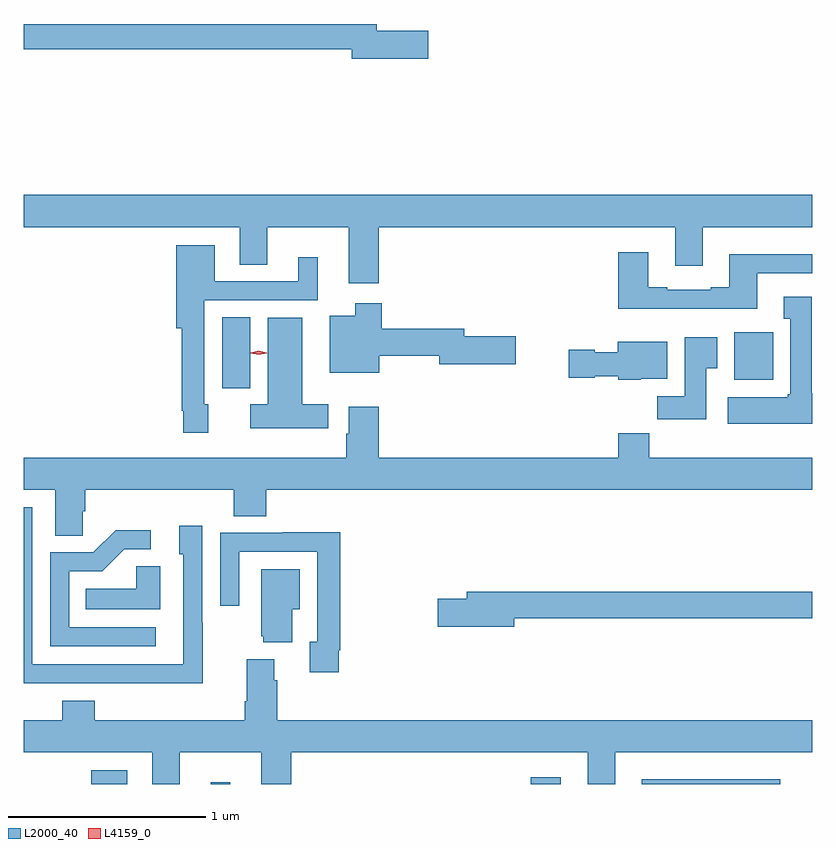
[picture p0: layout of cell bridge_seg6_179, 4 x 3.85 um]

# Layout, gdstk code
import gdstk
lib = gdstk.Library(unit=1e-6, precision=1e-09)
def R(c, l, rs):  # rectangles x0, y0, x1, y1
    for r in rs: c.add(gdstk.rectangle(r[:2], r[2:], *l))
def P(c, l, *ps):  # polygons
    for p in ps: c.add(gdstk.Polygon(p, *l))
L2000_40 = (2000, 40)
L4159_0 = (4159, 0)

bridge_seg6_179 = lib.new_cell('bridge_seg6_179')
R(bridge_seg6_179, L2000_40, [(277.466,980.476,277.648,980.545), (278.072,980.476,278.17,980.485), (279.695,980.476,279.847,980.509), (280.259,980.476,280.96,980.5), (278.129,982.483,278.272,982.844), (280.727,982.526,280.924,982.768)])
P(bridge_seg6_179, L2000_40, [(279.175,984.297),(278.914,984.297),(278.914,984.331),(277.123,984.331),(277.123,984.202),(278.786,984.202),(278.786,984.155),(279.175,984.155)],
  [(278.924,983.3),(280.427,983.3),(280.427,983.106),(280.567,983.106),(280.567,983.3),(281.123,983.3),(281.123,983.464),(277.123,983.464),(277.123,983.3),(278.219,983.3),(278.219,983.11),(278.359,983.11),(278.359,983.3),(278.771,983.3),(278.771,983.016),(278.924,983.016)],
  [(278.059,982.401),(278.04,982.401),(278.04,982.929),(278.614,982.929),(278.614,983.149),(278.516,983.149),(278.516,983.025),(278.092,983.025),(278.092,983.209),(277.898,983.209),(277.898,982.787),(277.924,982.787),(277.924,982.369),(277.932,982.369),(277.932,982.257),(278.059,982.257)],
  [(280.843,983.067),(281.123,983.067),(281.123,983.164),(280.703,983.164),(280.703,982.996),(280.607,982.996),(280.607,982.983),(280.387,982.983),(280.387,982.996),(280.291,982.996),(280.291,983.173),(280.139,983.173),(280.139,982.886),(280.843,982.886)],
  [(281.123,982.458),(281.119,982.458),(281.119,982.948),(280.979,982.948),(280.979,982.835),(281.012,982.835),(281.012,982.452),(280.999,982.452),(280.999,982.438),(280.695,982.438),(280.695,982.304),(281.123,982.304)],
  [(278.926,982.648),(279.23,982.648),(279.23,982.606),(279.619,982.606),(279.619,982.748),(279.358,982.748),(279.358,982.784),(278.939,982.784),(278.939,982.915),(278.804,982.915),(278.804,982.852),(278.675,982.852),(278.675,982.562),(278.926,982.562)],
  [(278.668,982.402),(278.536,982.402),(278.536,982.84),(278.36,982.84),(278.36,982.402),(278.272,982.402),(278.272,982.28),(278.668,982.28)],
  [(280.585,982.585),(280.642,982.585),(280.642,982.741),(280.475,982.741),(280.475,982.444),(280.336,982.444),(280.336,982.326),(280.585,982.326)],
  [(280.254,982.532),(280.387,982.532),(280.387,982.72),(280.136,982.72),(280.136,982.666),(280.02,982.666),(280.02,982.679),(279.888,982.679),(279.888,982.537),(280.02,982.537),(280.02,982.544),(280.14,982.544),(280.14,982.526),(280.254,982.526)],
  [(277.422,981.859),(277.436,981.859),(277.436,981.968),(278.189,981.968),(278.189,981.835),(278.354,981.835),(278.354,981.968),(281.123,981.968),(281.123,982.132),(280.295,982.132),(280.295,982.256),(280.139,982.256),(280.139,982.132),(278.924,982.132),(278.924,982.39),(278.771,982.39),(278.771,982.253),(278.759,982.253),(278.759,982.132),(277.123,982.132),(277.123,981.968),(277.283,981.968),(277.283,981.736),(277.422,981.736)],
  [(278.031,981.293),(278.028,981.293),(278.028,981.787),(277.913,981.787),(277.913,981.642),(277.932,981.642),(277.932,981.084),(277.167,981.084),(277.167,981.879),(277.123,981.879),(277.123,980.988),(277.567,980.988),(277.567,980.987),(278.031,980.987)],
  [(277.792,981.27),(277.353,981.27),(277.353,981.555),(277.522,981.555),(277.633,981.666),(277.768,981.666),(277.768,981.764),(277.589,981.764),(277.476,981.651),(277.257,981.651),(277.257,981.174),(277.792,981.174)],
  [(278.722,981.154),(278.729,981.154),(278.729,981.752),(278.437,981.752),(278.437,981.75),(278.121,981.75),(278.121,981.381),(278.217,981.381),(278.217,981.654),(278.613,981.654),(278.613,981.198),(278.573,981.198),(278.573,981.042),(278.722,981.042)],
  [(277.816,981.581),(277.695,981.581),(277.695,981.466),(277.438,981.466),(277.438,981.362),(277.816,981.362)],
  [(278.485,981.362),(278.524,981.362),(278.524,981.565),(278.327,981.565),(278.327,981.225),(278.339,981.225),(278.339,981.194),(278.485,981.194)],
  [(279.61,981.316),(281.123,981.316),(281.123,981.452),(279.371,981.452),(279.371,981.416),(279.222,981.416),(279.222,981.274),(279.61,981.274)],
  [(277.915,980.636),(278.327,980.636),(278.327,980.476),(278.48,980.476),(278.48,980.636),(279.983,980.636),(279.983,980.476),(280.123,980.476),(280.123,980.636),(281.123,980.636),(281.123,980.8),(278.408,980.8),(278.408,981.002),(278.395,981.002),(278.395,981.109),(278.255,981.109),(278.255,980.896),(278.243,980.896),(278.243,980.8),(277.484,980.8),(277.484,980.899),(277.319,980.899),(277.319,980.8),(277.123,980.8),(277.123,980.636),(277.775,980.636),(277.775,980.476),(277.915,980.476)])
P(bridge_seg6_179, L4159_0, [(278.315,982.653),(278.275,982.662),(278.275,982.663),(278.275,982.663),(278.315,982.673),(278.356,982.663),(278.356,982.663),(278.356,982.662)])

lib.write_gds('bridge_seg6_179.gds')
